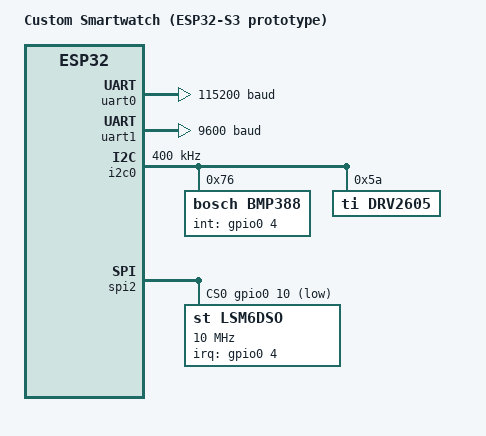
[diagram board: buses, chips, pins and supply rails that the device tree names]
/dts-v1/;
#include <espressif/esp32s3/esp32s3_wroom_n4.dtsi>
#include "watch_esp32-pinctrl.dtsi"
#include <espressif/partitions_0x0_amp.dtsi>
#include <zephyr/dt-bindings/sensor/lsm6dso.h>

/ {
    model = "Custom Smartwatch (ESP32-S3 prototype)";
    compatible = "custom,watch-esp32";

    chosen {
        zephyr,sram = &sram1;
        zephyr,flash = &flash0;
        zephyr,console = &uart0;
        zephyr,shell-uart = &uart0;
        zephyr,code-partition = &slot0_partition;
    };
};

&uart0{
    status = "okay";
    current-speed = <115200>;
    pinctrl-0 = <&uart0_default>;
    pinctrl-names = "default";
};

//GNSS
&uart1{
    status = "okay";
    current-speed = <9600>;
    pinctrl-0 = <&uart1_default>;
    pinctrl-names = "default";
};

&gpio0{
    status = "okay";
};

&gpio1{
    status = "okay";
};

&i2c0{
    status = "okay";
    clock-frequency = <I2C_BITRATE_FAST>;
    pinctrl-0 = <&i2c0_default>;
    pinctrl-names = "default";

    bmp388: bmp388@76 {
        compatible = "bosch,bmp388";
        reg = <0x76>;
        int-gpios = <&gpio0 4 GPIO_ACTIVE_HIGH>;
    };

    drv2605: drv2605@5a {
        compatible = "ti,drv2605";
        reg = <0x5a>;
        actuator-mode = "ERM";
    };
};

&spi2{
    status = "okay";
    #address-cells = <1>;
    #size-cells = <0>;
    pinctrl-0 = <&spim2_default>;
    pinctrl-names = "default";
    cs-gpios = <&gpio0 10 GPIO_ACTIVE_LOW>, //index 0 = IMU CS
               <&gpio0 9  GPIO_ACTIVE_LOW>; //index 1 = Display CS

    lsm6dso: lsm6dso@0 {
        compatible = "st,lsm6dso";
        reg = <0>;
        spi-max-frequency = <10000000>;
        accel-range = <2>;
        accel-odr   = <4>;
        gyro-range  = <6>;
        gyro-odr    = <4>;
        irq-gpios   = <&gpio0 4 GPIO_ACTIVE_HIGH>;
        int-pin     = <1>;
        tap-mode    = <1>;
        tap-threshold = <4>, <4>, <4>;
    };
};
